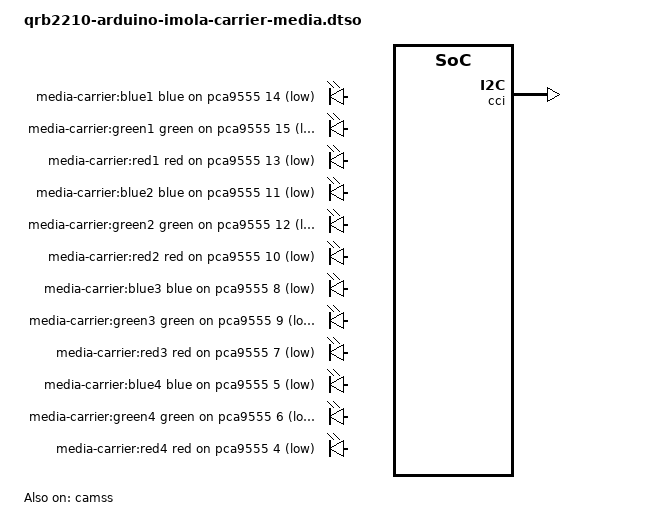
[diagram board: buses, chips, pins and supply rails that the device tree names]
// SPDX-License-Identifier: (GPL-2.0+ OR BSD-3-Clause)
/*
 * Copyright (c) 2025, Arduino SA
 */

/dts-v1/;
/plugin/;

#include <dt-bindings/gpio/gpio.h>
#include <dt-bindings/leds/common.h>
#include "qrb2210-arduino-imola-carrier-media-common.dtsi"

&camss {
	status = "okay";

	vdda-csiphy-1p2-supply = <&pm4125_l5>;
	vdda-pll-1p8-supply = <&pm4125_l13>;
};

&cci {
	status= "okay";
};

&leds {
	led1-blue {
		label = "media-carrier:blue1";
		function = LED_FUNCTION_INDICATOR;
		color = <LED_COLOR_ID_BLUE>;
		gpios = <&pca9555 14 GPIO_ACTIVE_LOW>;
		linux,default-trigger = "none";
		default-state = "off";
	};

	led1-green {
		label = "media-carrier:green1";
		function = LED_FUNCTION_INDICATOR;
		color = <LED_COLOR_ID_GREEN>;
		gpios = <&pca9555 15 GPIO_ACTIVE_LOW>;
		linux,default-trigger = "none";
		default-state = "off";
	};

	led1-red {
		label = "media-carrier:red1";
		function = LED_FUNCTION_INDICATOR;
		color = <LED_COLOR_ID_RED>;
		gpios = <&pca9555 13 GPIO_ACTIVE_LOW>;
		linux,default-trigger = "none";
		default-state = "off";
	};
	led2-blue {
		label = "media-carrier:blue2";
		function = LED_FUNCTION_INDICATOR;
		color = <LED_COLOR_ID_BLUE>;
		gpios = <&pca9555 11 GPIO_ACTIVE_LOW>;
		linux,default-trigger = "none";
		default-state = "off";
	};

	led2-green {
		label = "media-carrier:green2";
		function = LED_FUNCTION_INDICATOR;
		color = <LED_COLOR_ID_GREEN>;
		gpios = <&pca9555 12 GPIO_ACTIVE_LOW>;
		linux,default-trigger = "none";
		default-state = "off";
	};

	led2-red {
		label = "media-carrier:red2";
		function = LED_FUNCTION_INDICATOR;
		color = <LED_COLOR_ID_RED>;
		gpios = <&pca9555 10 GPIO_ACTIVE_LOW>;
		linux,default-trigger = "none";
		default-state = "off";
	};

	led3-blue {
		label = "media-carrier:blue3";
		function = LED_FUNCTION_INDICATOR;
		color = <LED_COLOR_ID_BLUE>;
		gpios = <&pca9555 8 GPIO_ACTIVE_LOW>;
		linux,default-trigger = "none";
		default-state = "off";
	};

	led3-green {
		label = "media-carrier:green3";
		function = LED_FUNCTION_INDICATOR;
		color = <LED_COLOR_ID_GREEN>;
		gpios = <&pca9555 9 GPIO_ACTIVE_LOW>;
		linux,default-trigger = "none";
		default-state = "off";
	};

	led3-red {
		label = "media-carrier:red3";
		function = LED_FUNCTION_INDICATOR;
		color = <LED_COLOR_ID_RED>;
		gpios = <&pca9555 7 GPIO_ACTIVE_LOW>;
		linux,default-trigger = "none";
		default-state = "off";
	};

	led4-blue {
		label = "media-carrier:blue4";
		function = LED_FUNCTION_INDICATOR;
		color = <LED_COLOR_ID_BLUE>;
		gpios = <&pca9555 5 GPIO_ACTIVE_LOW>;
		linux,default-trigger = "none";
		default-state = "off";
	};

	led4-green {
		label = "media-carrier:green4";
		function = LED_FUNCTION_INDICATOR;
		color = <LED_COLOR_ID_GREEN>;
		gpios = <&pca9555 6 GPIO_ACTIVE_LOW>;
		linux,default-trigger = "none";
		default-state = "off";
	};

	led4-red {
		label = "media-carrier:red4";
		function = LED_FUNCTION_INDICATOR;
		color = <LED_COLOR_ID_RED>;
		gpios = <&pca9555 4 GPIO_ACTIVE_LOW>;
		linux,default-trigger = "none";
		default-state = "off";
	};
};
